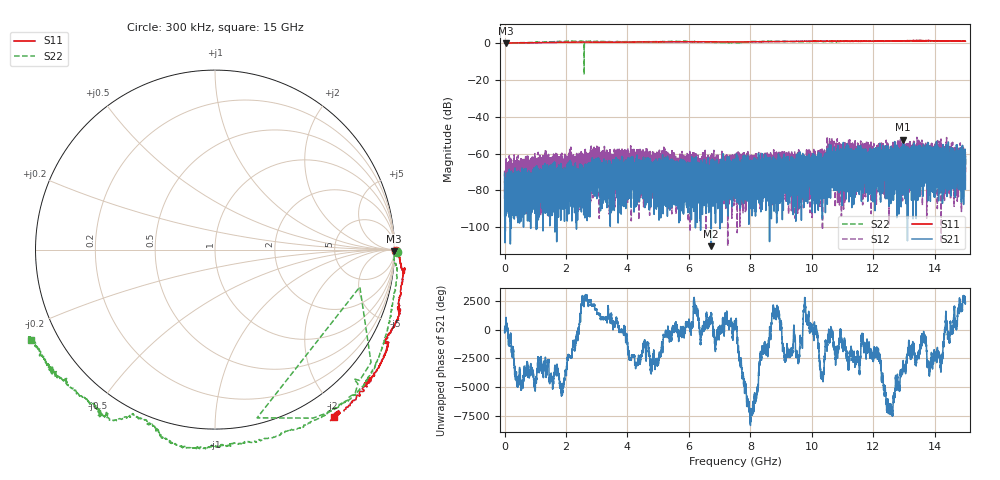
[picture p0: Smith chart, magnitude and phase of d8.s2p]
!Agilent Technologies,N5230C,SG49000117,A.08.50.07
!Agilent N5230C: A.08.50.07
!Date: Friday, May 17, 2024 07:59:50
!Correction: S11(Full 2 Port(1,2))
!S21(Full 2 Port(1,2))
!S12(Full 2 Port(1,2))
!S22(Full 2 Port(1,2))
!S2P File: Measurements: S11, S21, S12, S22:
# Hz S  MA  R 50
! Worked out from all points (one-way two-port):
!   20001 points, 300 kHz to 15 GHz, reference 50 ohm
!   highest |S21| = -52.42 dB at 12.97 GHz (marker M1); lowest = -110.2 dB at 6.728 GHz (marker M2)
!   lowest |S11| = 0.0 dB at 50.55 MHz (marker M3)
!   |S11| at or under -10 dB: nowhere
!   |S22| runs from -17.1 to 1.3 dB; largest |S21 - S12| = 0.0035
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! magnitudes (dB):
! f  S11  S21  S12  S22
! 300 kHz  0.1  -70.6  -69.2  0.1
! 50.55 MHz  0.0  -83.0  -63.3  0.0
! 1.938 GHz  0.5  -87.6  -64.8  0.9
! 2.1 GHz  0.5  -70.1  -65.8  1.0
! 2.267 GHz  0.5  -85.3  -73.0  1.0
! 2.501 GHz  0.5  -72.9  -62.3  1.0
! 3.003 GHz  0.5  -65.2  -57.7  0.9
! 3.464 GHz  0.5  -72.8  -76.6  0.8
! 3.992 GHz  0.5  -70.0  -62.7  0.8
! 4.143 GHz  0.6  -69.6  -61.2  0.7
! 4.554 GHz  0.7  -82.5  -68.6  0.8
! 5 GHz  0.7  -70.9  -72.3  0.8
! 6.728 GHz  0.7  -110.2  -72.3  0.5
! 7.5 GHz  0.7  -73.6  -65.1  0.3
! 10 GHz  1.0  -71.0  -63.7  0.9
! 10.42 GHz  1.0  -63.5  -66.1  0.8
! 10.58 GHz  1.0  -64.1  -55.0  0.9
! 10.84 GHz  1.0  -72.5  -58.9  0.9
! 12.5 GHz  1.2  -59.4  -63.4  1.0
! 12.97 GHz  1.2  -52.4  -59.3  1.1
! 14.88 GHz  1.1  -63.7  -64.2  1.2
! 15 GHz  1.1  -79.3  -62.8  1.2
